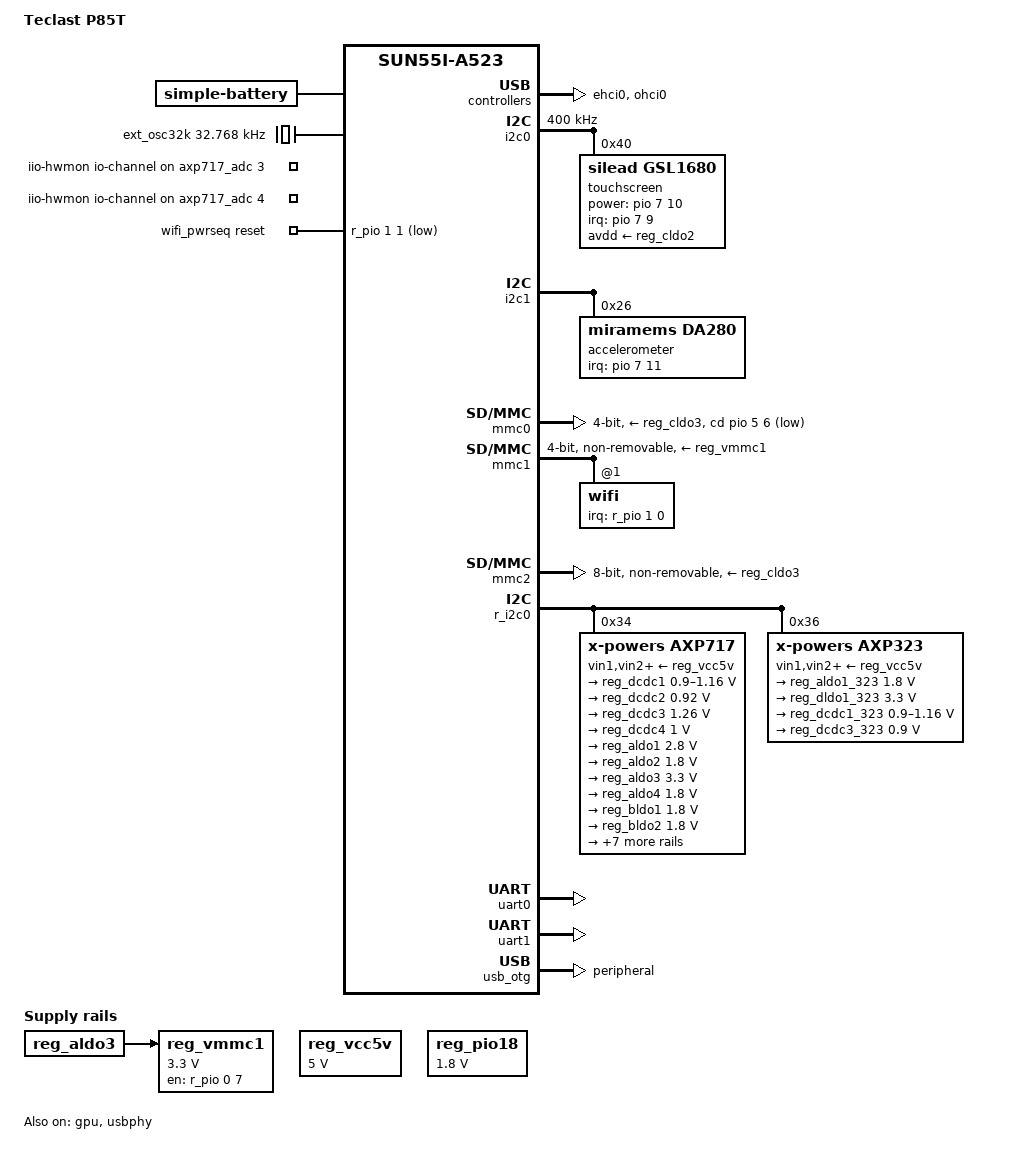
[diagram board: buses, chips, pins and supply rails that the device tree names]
// SPDX-License-Identifier: (GPL-2.0-only OR MIT)
/*
 * Copyright (C) 2026 Mikhail Kalashnikov <iuncuim@gmail.com>
 */

/dts-v1/;

#include "sun55i-a523.dtsi"

#include <dt-bindings/gpio/gpio.h>
#include <dt-bindings/interrupt-controller/irq.h>

/ {
	model = "Teclast P85T";
	compatible = "teclast,p85t", "allwinner,sun55i-a523";
	chassis-type = "tablet";

	aliases {
		serial0 = &uart0;
	};

	battery: battery {
		compatible = "simple-battery";
		constant-charge-current-max-microamp = <800000>;
		voltage-max-design-microvolt = <4400000>;
		charge-full-design-microamp-hours = <5000000>;
		energy-full-design-microwatt-hours = <19250000>;
	};

	chosen {
		stdout-path = "serial0:115200n8";
	};

	ext_osc32k: ext-osc32k-clk {
		#clock-cells = <0>;
		compatible = "fixed-clock";
		clock-frequency = <32768>;
		clock-output-names = "ext_osc32k";
	};

	iio-hwmon {
		compatible = "iio-hwmon";
		io-channels = <&axp717_adc 3>, /* vsys_v */
			      <&axp717_adc 4>; /* pmic_temp */
	};

	reg_vcc5v: vcc5v {
		/* board wide 5V supply from the USB-C connector */
		compatible = "regulator-fixed";
		regulator-name = "vcc-5v";
		regulator-min-microvolt = <5000000>;
		regulator-max-microvolt = <5000000>;
		regulator-always-on;
	};

	reg_pio18: pio-18 {
		compatible = "regulator-fixed";
		regulator-name = "pio-18";
		regulator-min-microvolt = <1800000>;
		regulator-max-microvolt = <1800000>;
		regulator-always-on;
	};

	reg_vmmc1: vmmc1 {
		compatible = "regulator-fixed";
		regulator-name = "vcc-wifi";
		regulator-min-microvolt = <3300000>;
		regulator-max-microvolt = <3300000>;
		vin-supply = <&reg_aldo3>;
		gpio = <&r_pio 0 7 GPIO_ACTIVE_HIGH>;	/* PL7 */
		enable-active-high;
	};

	wifi_pwrseq: pwrseq {
		compatible = "mmc-pwrseq-simple";
		reset-gpios = <&r_pio 1 1 GPIO_ACTIVE_LOW>; /* PM1 */
		post-power-on-delay-ms = <200>;
	};
};

&ehci0 {
	status = "okay";
};

&gpu {
	mali-supply = <&reg_dcdc2>;
	status = "okay";
};

&i2c0 {
	pinctrl-names = "default";
	pinctrl-0 = <&i2c0_pins>;
	clock-frequency = <400000>;
	status = "okay";

	touchscreen@40 {
		compatible = "silead,gsl1680";
		reg = <0x40>;
		interrupt-parent = <&pio>;
		interrupts = <7 9 IRQ_TYPE_EDGE_FALLING>; /* PH9 */
		power-gpios = <&pio 7 10 GPIO_ACTIVE_HIGH>; /* PH10 */
		touchscreen-size-x = <1786>;
		touchscreen-size-y = <1128>;
		touchscreen-inverted-y;
		touchscreen-swapped-x-y;
		silead,max-fingers = <5>;
		avdd-supply = <&reg_cldo2>;
	};
};

&i2c1 {
	pinctrl-names = "default";
	pinctrl-0 = <&i2c1_pins>;
	status = "okay";

	accelerometer@26 {
		compatible = "miramems,da280";
		reg = <0x26>;
		interrupt-parent = <&pio>;
		interrupts = <7 11 IRQ_TYPE_LEVEL_LOW>; /* PH11 */
	};
};

&mmc0 {
	vmmc-supply = <&reg_cldo3>;
	cd-gpios = <&pio 5 6 (GPIO_ACTIVE_LOW | GPIO_PULL_UP)>; /* PF6 */
	bus-width = <4>;
	status = "okay";
};

&mmc1 {
	vmmc-supply = <&reg_vmmc1>;
	vqmmc-supply = <&reg_bldo1>;
	mmc-pwrseq = <&wifi_pwrseq>;
	bus-width = <4>;
	non-removable;
	status = "okay";

	wifi@1 {
		reg = <1>;
		interrupt-parent = <&r_pio>;
		interrupts = <1 0 IRQ_TYPE_LEVEL_LOW>; /* PM0 */
		interrupt-names = "host-wake";
	};
};

&mmc2 {
	vmmc-supply = <&reg_cldo3>;
	vqmmc-supply = <&reg_cldo1>;
	bus-width = <8>;
	non-removable;
	cap-mmc-hw-reset;
	mmc-ddr-1_8v;
	mmc-hs200-1_8v;
	status = "okay";
};

&ohci0 {
	status = "okay";
};

&pio {
	vcc-pc-supply = <&reg_pio18>;
	vcc-pe-supply = <&reg_pio18>;
	vcc-pf-supply = <&reg_pio18>;
	vcc-pg-supply = <&reg_pio18>;
};

&r_i2c0 {
	status = "okay";

	axp717: pmic@34 {
		compatible = "x-powers,axp717";
		reg = <0x34>;
		interrupt-controller;
		#interrupt-cells = <1>;
		interrupt-parent = <&nmi_intc>;
		interrupts = <0 IRQ_TYPE_LEVEL_LOW>;

		vin1-supply = <&reg_vcc5v>;
		vin2-supply = <&reg_vcc5v>;
		vin3-supply = <&reg_vcc5v>;
		vin4-supply = <&reg_vcc5v>;
		aldoin-supply = <&reg_vcc5v>;
		bldoin-supply = <&reg_vcc5v>;
		cldoin-supply = <&reg_vcc5v>;

		axp717_adc: adc {
			compatible = "x-powers,axp717-adc";
			#io-channel-cells = <1>;
		};

		battery-power {
			compatible = "x-powers,axp717-battery-power-supply";
			monitored-battery = <&battery>;
		};

		regulators {
			/* Supplies the "little" cluster (1.0(?) GHz cores) */
			reg_dcdc1: dcdc1 {
				regulator-always-on;
				regulator-min-microvolt = <900000>;
				regulator-max-microvolt = <1160000>;
				regulator-name = "vdd-cpul";
			};

			reg_dcdc2: dcdc2 {
				regulator-always-on;
				regulator-min-microvolt = <920000>;
				regulator-max-microvolt = <920000>;
				regulator-name = "vdd-gpu-sys";
			};

			reg_dcdc3: dcdc3 {
				regulator-always-on;
				regulator-min-microvolt = <1260000>;
				regulator-max-microvolt = <1260000>;
				regulator-name = "vdd-dram";
			};

			reg_dcdc4: dcdc4 {
				regulator-min-microvolt = <1000000>;
				regulator-max-microvolt = <1000000>;
				regulator-name = "vdd-dcdc4";
			};

			reg_aldo1: aldo1 {
				/* camera sensor AVDD */
				regulator-min-microvolt = <2800000>;
				regulator-max-microvolt = <2800000>;
				regulator-name = "avdd-csi";
			};

			reg_aldo2: aldo2 {
				/* camera sensor IOVDD */
				regulator-min-microvolt = <1800000>;
				regulator-max-microvolt = <1800000>;
				regulator-name = "iovdd-csi";
			};

			reg_aldo3: aldo3 {
				/* supplies the I2C pins for this PMIC and the WiFi module */
				regulator-always-on;
				regulator-min-microvolt = <3300000>;
				regulator-max-microvolt = <3300000>;
				regulator-name = "vcc-pl-pm";
			};

			reg_aldo4: aldo4 {
				regulator-always-on;
				regulator-min-microvolt = <1800000>;
				regulator-max-microvolt = <1800000>;
				regulator-name = "vcc-pll-dxco-avcc";
			};

			reg_bldo1: bldo1 {
				/* WiFi module 1.8V */
				regulator-min-microvolt = <1800000>;
				regulator-max-microvolt = <1800000>;
				regulator-name = "vcc-wifi-1v8";
			};

			reg_bldo2: bldo2 {
				/* WiFi module 1.8V */
				regulator-always-on;
				regulator-min-microvolt = <1800000>;
				regulator-max-microvolt = <1800000>;
				regulator-name = "vcc-wifi-1v8-b";
			};

			reg_bldo3: bldo3 {
				/* camera sensor DVDD/cameravdd */
				regulator-min-microvolt = <2800000>;
				regulator-max-microvolt = <2800000>;
				regulator-name = "vcc-csi";
			};

			reg_bldo4: bldo4 {
				/* camera sensor DVDD */
				regulator-min-microvolt = <1200000>;
				regulator-max-microvolt = <1200000>;
				regulator-name = "dvdd-csi";
			};

			reg_cldo1: cldo1 {
				/* codec CPVIN, SD/eMMC 1.8V IO */
				regulator-min-microvolt = <1800000>;
				regulator-max-microvolt = <1800000>;
				regulator-name = "vcc-codec-sd";
			};

			reg_cldo2: cldo2 {
				/* touch panel supply */
				regulator-min-microvolt = <3300000>;
				regulator-max-microvolt = <3300000>;
				regulator-name = "vcc-ctp";
			};

			reg_cldo3: cldo3 {
				/* SD/eMMC VMMC, codec VDD, UART0, g-sensor */
				regulator-always-on;
				regulator-min-microvolt = <3300000>;
				regulator-max-microvolt = <3300000>;
				regulator-name = "vcc-io-mmc";
			};

			reg_cldo4: cldo4 {
				/* LCD panel supply */
				regulator-min-microvolt = <3300000>;
				regulator-max-microvolt = <3300000>;
				regulator-name = "vcc-lcd";
			};

			reg_cpusldo: cpusldo {
				/* supplies the management core */
				regulator-always-on;
				regulator-min-microvolt = <900000>;
				regulator-max-microvolt = <900000>;
				regulator-name = "vdd-cpus";
			};
		};

		usb-power {
			compatible = "x-powers,axp717-usb-power-supply";
			input-current-limit-microamp = <1750000>;
		};
	};

	axp323: pmic@36 {
		compatible = "x-powers,axp323";
		reg = <0x36>;
		#interrupt-cells = <1>;
		interrupt-controller;
		interrupt-parent = <&nmi_intc>;
		interrupts = <0 IRQ_TYPE_LEVEL_LOW>;

		vin1-supply = <&reg_vcc5v>;
		vin2-supply = <&reg_vcc5v>;
		vin3-supply = <&reg_vcc5v>;

		regulators {
			reg_aldo1_323: aldo1 {
				regulator-always-on;
				regulator-min-microvolt = <1800000>;
				regulator-max-microvolt = <1800000>;
				regulator-name = "vcc-aldo1-323";
			};

			reg_dldo1_323: dldo1 {
				regulator-always-on;
				regulator-min-microvolt = <3300000>;
				regulator-max-microvolt = <3300000>;
				regulator-name = "vcc-dldo1-323";
			};

			/* Supplies the "big" cluster (1.8 GHz cores) */
			reg_dcdc1_323: dcdc1 {
				regulator-always-on;
				regulator-min-microvolt = <900000>;
				regulator-max-microvolt = <1160000>;
				regulator-name = "vdd-cpub";
			};

			/* DCDC2 is polyphased with DCDC1 */

			reg_dcdc3_323: dcdc3 {
				regulator-always-on;
				regulator-min-microvolt = <900000>;
				regulator-max-microvolt = <900000>;
				regulator-name = "vdd-dcdc3";
			};
		};
	};
};

&r_pio {
/*
 * Specifying the supply would create a circular dependency.
 *
 *	vcc-pl-supply = <&reg_aldo3>;
 */
	vcc-pm-supply = <&reg_aldo3>;
};

&rtc {
	clocks = <&r_ccu CLK_BUS_R_RTC>, <&osc24M>,
		 <&r_ccu CLK_R_AHB>, <&ext_osc32k>;
	clock-names = "bus", "hosc", "ahb", "ext-osc32k";
	assigned-clocks = <&rtc CLK_OSC32K>;
	assigned-clock-rates = <32768>;
};

&uart0 {
	pinctrl-names = "default";
	pinctrl-0 = <&uart0_pb_pins>;
	status = "okay";
};

&uart1 {
	/* Bluetooth HCI, 4-wire with RTS/CTS */
	pinctrl-names = "default";
	pinctrl-0 = <&uart1_pins>, <&uart1_rts_cts_pins>;
	uart-has-rtscts;
	status = "okay";
};

&usb_otg {
	/*
	 * The USB-C port is the primary power supply; VBUS control is not
	 * wired in mainline (AXP717 has no drivevbus), so the port can only
	 * act as a USB device powered from the host side.
	 */
	dr_mode = "peripheral";
	status = "okay";
};

&usbphy {
	usb0_vbus-supply = <&reg_vcc5v>;
	status = "okay";
};
